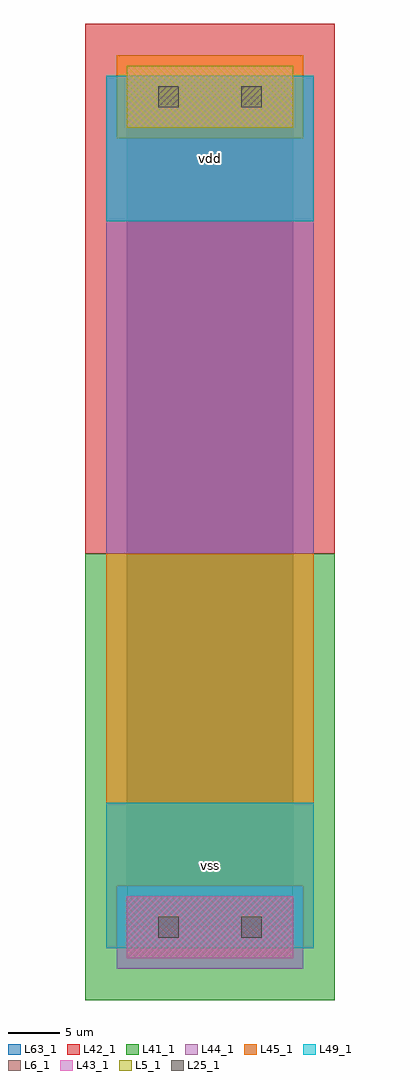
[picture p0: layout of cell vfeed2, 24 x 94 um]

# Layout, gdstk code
import gdstk
lib = gdstk.Library(unit=1e-6, precision=1e-09)
def R(c, l, rs):  # rectangles x0, y0, x1, y1
    for r in rs: c.add(gdstk.rectangle(r[:2], r[2:], *l))
L5_1 = (5, 1)
L6_1 = (6, 1)
L25_1 = (25, 1)
L41_1 = (41, 1)
L42_1 = (42, 1)
L43_1 = (43, 1)
L44_1 = (44, 1)
L45_1 = (45, 1)
L49_1 = (49, 1)
L63_1 = (63, 1)

vfeed2 = lib.new_cell('vfeed2')
R(vfeed2, L5_1, [(0,77,16,83)])
R(vfeed2, L6_1, [(0,-3,16,3), (0,-3,16,3)])
R(vfeed2, L25_1, [(3,-1,5,1), (11,-1,13,1), (3,79,5,81), (11,79,13,81)])
R(vfeed2, L41_1, [(-4,-7,20,36)])
R(vfeed2, L42_1, [(-4,36,20,87)])
R(vfeed2, L43_1, [(0,-3,16,3), (0,77,16,83)])
R(vfeed2, L44_1, [(-1,-4,17,4), (-2,36,18,76), (-2,76,-1,82), (17,76,18,82)])
R(vfeed2, L45_1, [(-2,-2,-1,4), (17,-2,18,4), (-2,4,18,36), (-1,76,17,84)])
R(vfeed2, L49_1, [(-2,-2,18,12), (-2,68,18,82)])
R(vfeed2, L63_1, [(0,0,16,80)])
vfeed2.add(gdstk.Label('vss', (8,6), layer=49, texttype=1))
vfeed2.add(gdstk.Label('vdd', (8,74), layer=49, texttype=1))

lib.write_gds('vfeed2.gds')
